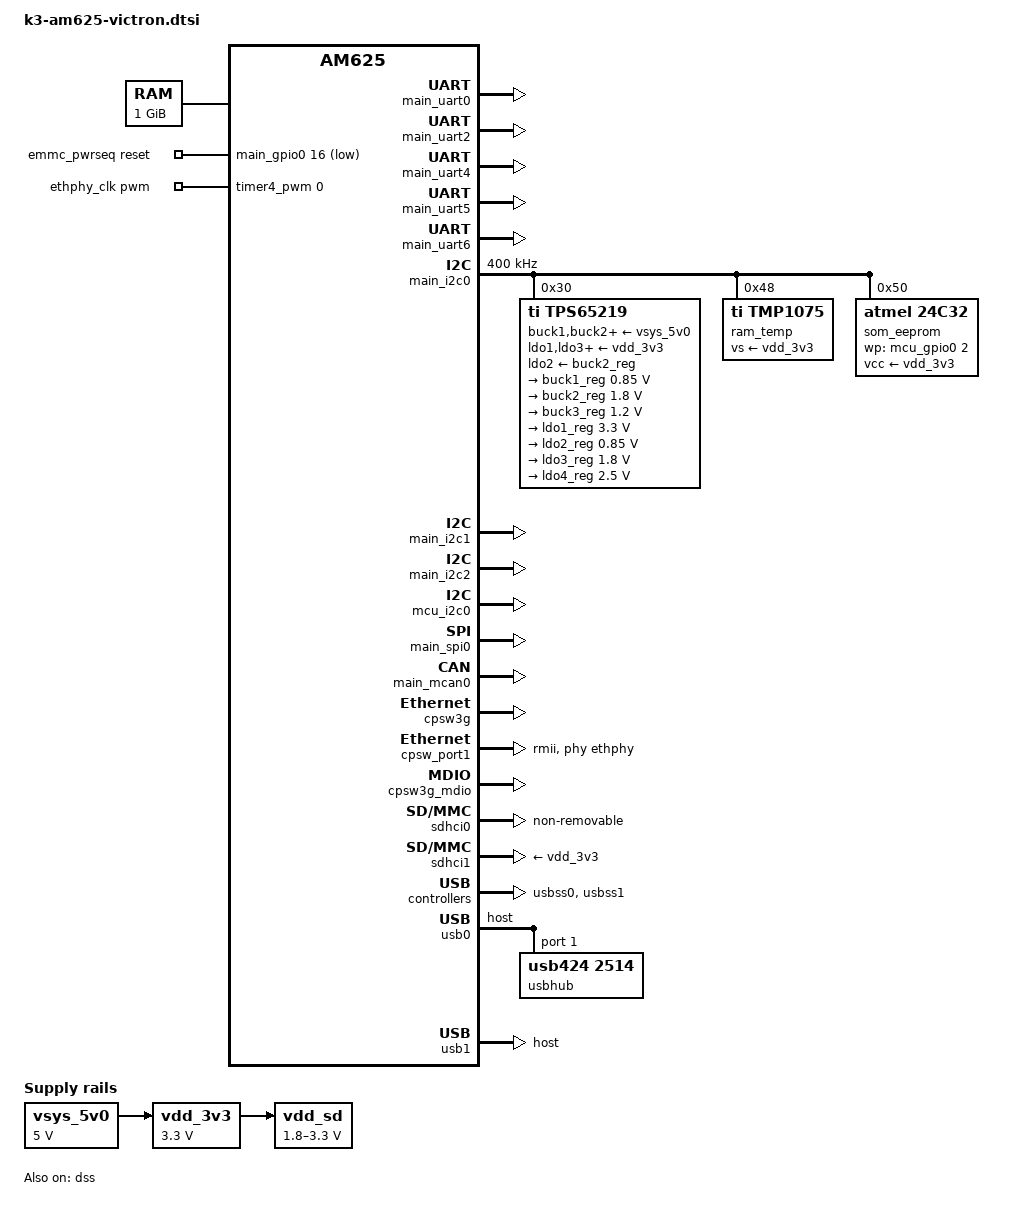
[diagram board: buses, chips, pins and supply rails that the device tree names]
#include <dt-bindings/gpio/gpio.h>

#include "k3-am625.dtsi"

/ {
	compatible = "sancloud,am625-victron", "ti,am625";

	aliases {
		i2c0 = &main_i2c1;
		i2c1 = &main_i2c2;
		i2c2 = &mcu_i2c0;
		i2c3 = &main_i2c0;
		mmc0 = &sdhci0;
		mmc1 = &sdhci1;
		serial0 = &main_uart0;
		serial1 = &main_uart2;
		serial2 = &main_uart4;
		serial3 = &main_uart5;
		serial4 = &main_uart6;
	};

	chosen {
		stdout-path = "serial0:115200n8";
	};

	memory@80000000 {
		device_type = "memory";
		reg = <0x00000000 0x80000000 0x00000000 0x40000000>; /* 1G */
	};

	reserved-memory {
		#address-cells = <2>;
		#size-cells = <2>;
		ranges;

		rtos_ipc_memory_region: ipc-memories@9c800000 {
			compatible = "shared-dma-pool";
			reg = <0x00 0x9c800000 0x00 0x00300000>;
			no-map;
		};

		mcu_m4fss_dma_memory_region: m4f-dma-memory@9cb00000 {
			compatible = "shared-dma-pool";
			reg = <0x00 0x9cb00000 0x00 0x100000>;
			no-map;
		};

		mcu_m4fss_memory_region: m4f-memory@9cc00000 {
			compatible = "shared-dma-pool";
			reg = <0x00 0x9cc00000 0x00 0xe00000>;
			no-map;
		};

		wkup_r5fss0_core0_dma_memory_region: r5f-dma-memory@9da00000 {
			compatible = "shared-dma-pool";
			reg = <0x00 0x9da00000 0x00 0x00100000>;
			no-map;
		};

		wkup_r5fss0_core0_memory_region: r5f-memory@9db00000 {
			compatible = "shared-dma-pool";
			reg = <0x00 0x9db00000 0x00 0x00c00000>;
			no-map;
		};

		lpm_ctx_ddr: lpm-memory@9e700000 {
			reg = <0x00 0x9e700000 0x00 0x80000>;
			alignment = <0x1000>;
		};

		secure_tfa_ddr: tfa@9e780000 {
			reg = <0x00 0x9e780000 0x00 0x80000>;
			alignment = <0x1000>;
			no-map;
		};

		secure_ddr: optee@9e800000 {
			reg = <0x00 0x9e800000 0x00 0x01800000>;  /* OP-TEE */
			alignment = <0x1000>;
			no-map;
		};
	};

	emmc_pwrseq: emmc-pwrseq {
		compatible = "mmc-pwrseq-emmc";
		pinctrl-names = "default";
		pinctrl-0 = <&emmc_pwrseq_pins>;
		reset-gpios = <&main_gpio0 16 GPIO_ACTIVE_LOW>;
	};

	vsys_5v0: regulator-5v0 {
		compatible = "regulator-fixed";
		regulator-name = "vsys_5v0";
		regulator-min-microvolt = <5000000>;
		regulator-max-microvolt = <5000000>;
		regulator-always-on;
		regulator-boot-on;
	};

	vdd_3v3: regulator-3v3 {
		compatible = "regulator-fixed";
		regulator-name = "vdd_3v3";
		regulator-min-microvolt = <3300000>;
		regulator-max-microvolt = <3300000>;
		vin-supply = <&vsys_5v0>;
		regulator-always-on;
		regulator-boot-on;
	};

	vdd_sd: regulator-sd {
		compatible = "regulator-gpio";
		pinctrl-names = "default";
		pinctrl-0 = <&vdd_sd_pins>;
		regulator-name = "vdd_sd";
		regulator-min-microvolt = <1800000>;
		regulator-max-microvolt = <3300000>;
		regulator-boot-on;
		vin-supply = <&vdd_3v3>;
		gpios = <&main_gpio1 49 GPIO_ACTIVE_HIGH>;
		states = <1800000 0x0>,
			 <3300000 0x1>;
	};

	timer4_pwm: pwm {
		compatible = "ti,omap-dmtimer-pwm";
		ti,timers = <&main_timer4>;
		#pwm-cells = <3>;
	};

	ethphy_clk: ethphy-clk {
		compatible = "pwm-clock";
		#clock-cells = <0>;
		pwms = <&timer4_pwm 0 20 0>;			  /* 50 MHz */
	};
};

&a53_opp_table {
	/* Requires VDD_CORE to be at 0.85V */
	opp-1400000000 {
		opp-hz = /bits/ 64 <1400000000>;
		opp-supported-hw = <0x01 0x0004>;
	};
};

&mailbox0_cluster0 {
	mbox_m4_0: mbox-m4-0 {
		ti,mbox-rx = <0 0 0>;
		ti,mbox-tx = <1 0 0>;
	};
};

&main_pmx0 {
	main_timer4_pins: main-timer4-pins {
		pinctrl-single,pins = <
			AM62X_IOPAD(0x01f0, PIN_OUTPUT, 4)	  /* A18 */
		>;
	};

	main_uart0_pins: main-uart0-pins {
		pinctrl-single,pins = <
			AM62X_IOPAD(0x01c8, PIN_INPUT, 0)	  /* D14 */
			AM62X_IOPAD(0x01cc, PIN_OUTPUT, 0)	  /* E14 */
		>;
	};

	main_uart2_pins: main-uart2-pins {
		pinctrl-single,pins = <
			AM62X_IOPAD(0x01d0, PIN_INPUT, 3)	  /* A15 */
			AM62X_IOPAD(0x01d4, PIN_OUTPUT, 3)	  /* B15 */
		>;
	};

	main_uart4_pins: main-uart4-pins {
		pinctrl-single,pins = <
			AM62X_IOPAD(0x0124, PIN_INPUT, 3)	  /* A23 */
			AM62X_IOPAD(0x0128, PIN_OUTPUT, 3)	  /* B23 */
		>;
	};

	main_uart5_pins: main-uart5-pins {
		pinctrl-single,pins = <
			AM62X_IOPAD(0x0108, PIN_INPUT, 3)	  /* D24 */
			AM62X_IOPAD(0x010c, PIN_OUTPUT, 3)	  /* E23 */
		>;
	};

	main_uart6_pins: main-uart6-pins {
		pinctrl-single,pins = <
			AM62X_IOPAD(0x0194, PIN_INPUT, 3)	  /* B19 */
			AM62X_IOPAD(0x0198, PIN_OUTPUT, 3)	  /* A19 */
		>;
	};

	main_i2c0_pins: main-i2c0-pins {
		pinctrl-single,pins = <
			AM62X_IOPAD(0x01e0, PIN_INPUT_PULLUP, 0)  /* B16 */
			AM62X_IOPAD(0x01e4, PIN_INPUT_PULLUP, 0)  /* A16 */
		>;
	};

	main_i2c1_pins: main-i2c1-pins {
		pinctrl-single,pins = <
			AM62X_IOPAD(0x01e8, PIN_INPUT_PULLUP, 0)  /* B17 */
			AM62X_IOPAD(0x01ec, PIN_INPUT_PULLUP, 0)  /* A17 */
		>;
	};

	main_i2c2_pins: main-i2c2-pins {
		pinctrl-single,pins = <
			AM62X_IOPAD(0x00b0, PIN_INPUT_PULLUP, 1)  /* K22 */
			AM62X_IOPAD(0x00b4, PIN_INPUT_PULLUP, 1)  /* K24 */
		>;
	};

	main_spi0_pins: main-spi0-pins {
		pinctrl-single,pins = <
			AM62X_IOPAD(0x01bc, PIN_OUTPUT, 0)	  /* A14 */
			AM62X_IOPAD(0x01c0, PIN_INPUT, 0)	  /* B13 */
			AM62X_IOPAD(0x01c4, PIN_OUTPUT, 0)	  /* B14 */
			AM62X_IOPAD(0x01b4, PIN_OUTPUT, 0)	  /* A13 */
		>;
	};

	main_mcan0_pins: main-mcan0-pins {
		pinctrl-single,pins = <
			AM62X_IOPAD(0x01dc, PIN_INPUT, 0)	  /* E15 */
			AM62X_IOPAD(0x01d8, PIN_OUTPUT, 0)	  /* C15 */
		>;
	};

	cpsw_pins: cpsw-pins {
		pinctrl-single,pins = <
			AM62X_IOPAD(0x0148, PIN_INPUT, 1)	  /* AD17 */
			AM62X_IOPAD(0x0144, PIN_INPUT, 1)	  /* AE17 */
			AM62X_IOPAD(0x0130, PIN_INPUT, 1)	  /* AE19 */
			AM62X_IOPAD(0x012c, PIN_INPUT, 1)	  /* AD19 */
			AM62X_IOPAD(0x014c, PIN_INPUT, 1)	  /* AB17 */
			AM62X_IOPAD(0x0150, PIN_INPUT, 1)	  /* AC17 */
			AM62X_IOPAD(0x0134, PIN_OUTPUT, 1)	  /* AE20 */
			AM62X_IOPAD(0x0138, PIN_OUTPUT, 1)	  /* AD20 */
		>;
	};

	mdio_pins: mdio-pins {
		pinctrl-single,pins = <
			AM62X_IOPAD(0x0160, PIN_OUTPUT, 0)	  /* AD24 */
			AM62X_IOPAD(0x015c, PIN_INPUT, 0)	  /* AB22 */
		>;
	};

	sdhci0_pins: sdhci0-pins {
		pinctrl-single,pins = <
			AM62X_IOPAD(0x0218, PIN_INPUT, 0)	  /* AB1 */
			AM62X_IOPAD(0x0220, PIN_INPUT, 0)	  /* Y3  */
			AM62X_IOPAD(0x0214, PIN_INPUT, 0)	  /* AA2 */
			AM62X_IOPAD(0x0210, PIN_INPUT, 0)	  /* AA1 */
			AM62X_IOPAD(0x020c, PIN_INPUT, 0)	  /* AA3 */
			AM62X_IOPAD(0x0208, PIN_INPUT, 0)	  /* Y4  */
			AM62X_IOPAD(0x0204, PIN_INPUT, 0)	  /* AB2 */
			AM62X_IOPAD(0x0200, PIN_INPUT, 0)	  /* AC1 */
			AM62X_IOPAD(0x01fc, PIN_INPUT, 0)	  /* AD2 */
			AM62X_IOPAD(0x01f8, PIN_INPUT, 0)	  /* AC2 */
		>;
	};

	sdhci1_pins: sdhci1-pins {
		pinctrl-single,pins = <
			AM62X_IOPAD(0x0234, PIN_INPUT, 0)	  /* B22 */
			AM62X_IOPAD(0x023c, PIN_INPUT, 0)	  /* A21 */
			AM62X_IOPAD(0x0240, PIN_INPUT, 0)	  /* D17 */
			AM62X_IOPAD(0x0230, PIN_INPUT, 0)	  /* A22 */
			AM62X_IOPAD(0x022c, PIN_INPUT, 0)	  /* B21 */
			AM62X_IOPAD(0x0228, PIN_INPUT, 0)	  /* C21 */
			AM62X_IOPAD(0x0224, PIN_INPUT, 0)	  /* D22 */
		>;
	};

	emmc_pwrseq_pins: emmc-pwrseq-pins {
		pinctrl-single,pins = <
			AM62X_IOPAD(0x0040, PIN_OUTPUT, 7)	  /* N23 */
		>;
	};

	pmic_pins: pmic-pins {
		pinctrl-single,pins = <
			AM62X_IOPAD(0x01f4, PIN_INPUT, 0)	  /* D16 */
		>;
	};

	vdd_sd_pins: vdd-sd-pins {
		pinctrl-single,pins = <
			AM62X_IOPAD(0x0244, PIN_OUTPUT, 7)	  /* C17 */
		>;
	};

	dss_pins: dss-pins {
		pinctrl-single,pins = <
			AM62X_IOPAD(0x00fc, PIN_OUTPUT, 0)	  /* Y20  */
			AM62X_IOPAD(0x00f8, PIN_OUTPUT, 0)	  /* AB24 */
			AM62X_IOPAD(0x0104, PIN_OUTPUT, 0)	  /* AC24 */
			AM62X_IOPAD(0x0100, PIN_OUTPUT, 0)	  /* AC25 */
			AM62X_IOPAD(0x00b8, PIN_OUTPUT, 0)	  /* U22  */
			AM62X_IOPAD(0x00bc, PIN_OUTPUT, 0)	  /* V24  */
			AM62X_IOPAD(0x00c0, PIN_OUTPUT, 0)	  /* W25  */
			AM62X_IOPAD(0x00c4, PIN_OUTPUT, 0)	  /* W24  */
			AM62X_IOPAD(0x00c8, PIN_OUTPUT, 0)	  /* Y25  */
			AM62X_IOPAD(0x00cc, PIN_OUTPUT, 0)	  /* Y24  */
			AM62X_IOPAD(0x00d0, PIN_OUTPUT, 0)	  /* Y23  */
			AM62X_IOPAD(0x00d4, PIN_OUTPUT, 0)	  /* AA25 */
			AM62X_IOPAD(0x00d8, PIN_OUTPUT, 0)	  /* V21  */
			AM62X_IOPAD(0x00dc, PIN_OUTPUT, 0)	  /* W21  */
			AM62X_IOPAD(0x00e0, PIN_OUTPUT, 0)	  /* V20  */
			AM62X_IOPAD(0x00e4, PIN_OUTPUT, 0)	  /* AA23 */
			AM62X_IOPAD(0x00e8, PIN_OUTPUT, 0)	  /* AB25 */
			AM62X_IOPAD(0x00ec, PIN_OUTPUT, 0)	  /* AA24 */
			AM62X_IOPAD(0x00f0, PIN_OUTPUT, 0)	  /* Y22  */
			AM62X_IOPAD(0x00f4, PIN_OUTPUT, 0)	  /* AA21 */
			AM62X_IOPAD(0x005c, PIN_OUTPUT, 1)	  /* R24  */
			AM62X_IOPAD(0x0060, PIN_OUTPUT, 1)	  /* R25  */
			AM62X_IOPAD(0x0064, PIN_OUTPUT, 1)	  /* T25  */
			AM62X_IOPAD(0x0068, PIN_OUTPUT, 1)	  /* R21  */
			AM62X_IOPAD(0x006c, PIN_OUTPUT, 1)	  /* T22  */
			AM62X_IOPAD(0x0070, PIN_OUTPUT, 1)	  /* T24  */
			AM62X_IOPAD(0x0074, PIN_OUTPUT, 1)	  /* U25  */
			AM62X_IOPAD(0x0078, PIN_OUTPUT, 1)	  /* U24  */
		>;
	};

	usb0_pins: usb0-pins {
		pinctrl-single,pins = <
			AM62X_IOPAD(0x008c, PIN_INPUT_PULLUP, 7)  /* L25 */
		>;
	};

	usb1_pins: usb1-pins {
		pinctrl-single,pins = <
			AM62X_IOPAD(0x017c, PIN_INPUT_PULLUP, 7)  /* AD22 */
		>;
	};

	main_gpio0_pins: main-gpio0-pins {
		pinctrl-single,pins = <
			AM62X_IOPAD(0x0114, PIN_OUTPUT, 7)	  /* B24 */
			AM62X_IOPAD(0x0120, PIN_OUTPUT, 0)	  /* C24 */
		>;
	};

	main_gpio1_pins: main-gpio1-pins {
		pinctrl-single,pins = <
			AM62X_IOPAD(0x01a8, PIN_OUTPUT, 7)	  /* D20 */
		>;
	};
};

&mcu_pmx0 {
	mcu_i2c0_pins: mcu-i2c0-pins {
		pinctrl-single,pins = <
			AM62X_IOPAD(0x0044, PIN_INPUT, 0)	  /* A8  */
			AM62X_IOPAD(0x0048, PIN_INPUT, 0)	  /* D10 */
		>;
	};

	som_eeprom_pins: som-eeprom-pins {
		pinctrl-single,pins = <
			AM62X_IOPAD(0x0000, PIN_OUTPUT, 7)	  /* A7 */
		>;
	};
};

&main_timer4 {
	pinctrl-names = "default";
	pinctrl-0 = <&main_timer4_pins>;
	assigned-clocks = <&k3_clks 40 2>;
	assigned-clock-parents = <&k3_clks 40 5>;
};

&main_uart0 {
	pinctrl-names = "default";
	pinctrl-0 = <&main_uart0_pins>;
	status = "okay";
};

&main_uart2 {
	pinctrl-names = "default";
	pinctrl-0 = <&main_uart2_pins>;
	status = "okay";
};

&main_uart4 {
	pinctrl-names = "default";
	pinctrl-0 = <&main_uart4_pins>;
	status = "okay";
};

&main_uart5 {
	pinctrl-names = "default";
	pinctrl-0 = <&main_uart5_pins>;
	status = "okay";
};

&main_uart6 {
	pinctrl-names = "default";
	pinctrl-0 = <&main_uart6_pins>;
	status = "okay";
};

&main_i2c0 {
	pinctrl-names = "default";
	pinctrl-0 = <&main_i2c0_pins>;
	clock-frequency = <400000>;
	status = "okay";

	tps65219: pmic@30 {
		compatible = "ti,tps65219";
		pinctrl-names = "default";
		pinctrl-0 = <&pmic_pins>;
		reg = <0x30>;

		buck1-supply = <&vsys_5v0>;
		buck2-supply = <&vsys_5v0>;
		buck3-supply = <&vsys_5v0>;
		ldo1-supply = <&vdd_3v3>;
		ldo2-supply = <&buck2_reg>;
		ldo3-supply = <&vdd_3v3>;
		ldo4-supply = <&vdd_3v3>;

		interrupt-parent = <&gic500>;
		interrupts = <GIC_SPI 224 IRQ_TYPE_LEVEL_HIGH>;
		interrupt-controller;
		#interrupt-cells = <2>;

		system-power-controller;
		wakeup-source;
		ti,power-button;

		regulators {
			buck1_reg: buck1 {
				regulator-name = "VDD_CORE";
				regulator-min-microvolt = <850000>;
				regulator-max-microvolt = <850000>;
				regulator-boot-on;
				regulator-always-on;
			};

			buck2_reg: buck2 {
				regulator-name = "VDD_1V8";
				regulator-min-microvolt = <1800000>;
				regulator-max-microvolt = <1800000>;
				regulator-boot-on;
				regulator-always-on;
			};

			buck3_reg: buck3 {
				regulator-name = "VDD_1V2";
				regulator-min-microvolt = <1200000>;
				regulator-max-microvolt = <1200000>;
				regulator-boot-on;
				regulator-always-on;
			};

			ldo1_reg: ldo1 {
				regulator-name = "VDD_SD_3V3";
				regulator-min-microvolt = <3300000>;
				regulator-max-microvolt = <3300000>;
				regulator-allow-bypass;
				regulator-boot-on;
				regulator-always-on;
			};

			ldo2_reg: ldo2 {
				regulator-name = "VDDA_0V85";
				regulator-min-microvolt = <850000>;
				regulator-max-microvolt = <850000>;
				regulator-boot-on;
				regulator-always-on;
			};

			ldo3_reg: ldo3 {
				regulator-name = "VDDA_1V8";
				regulator-min-microvolt = <1800000>;
				regulator-max-microvolt = <1800000>;
				regulator-boot-on;
				regulator-always-on;
			};

			ldo4_reg: ldo4 {
				regulator-name = "VDD_2V5";
				regulator-min-microvolt = <2500000>;
				regulator-max-microvolt = <2500000>;
				regulator-boot-on;
				regulator-always-on;
			};
		};
	};

	ram_temp: temperature-sensor@48 {
		compatible = "ti,tmp1075";
		reg = <0x48>;
		label = "ram_temp";
		vs-supply = <&vdd_3v3>;
	};

	som_eeprom: eeprom@50 {
		compatible = "atmel,24c32";
		pinctrl-names = "default";
		pinctrl-0 = <&som_eeprom_pins>;
		reg = <0x50>;
		pagesize = <32>;
		wp-gpios = <&mcu_gpio0 2 GPIO_ACTIVE_HIGH>;
		vcc-supply = <&vdd_3v3>;
	};
};

&main_i2c1 {
	pinctrl-names = "default";
	pinctrl-0 = <&main_i2c1_pins>;
	status = "okay";
};

&main_i2c2 {
	pinctrl-names = "default";
	pinctrl-0 = <&main_i2c2_pins>;
	status = "okay";
};

&mcu_i2c0 {
	pinctrl-names = "default";
	pinctrl-0 = <&mcu_i2c0_pins>;
	status = "okay";
};

&main_spi0 {
	pinctrl-names = "default";
	pinctrl-0 = <&main_spi0_pins>;
	status = "okay";
};

&main_mcan0 {
	pinctrl-names = "default";
	pinctrl-0 = <&main_mcan0_pins>;
	status = "okay";
};

&cpsw3g {
	pinctrl-names = "default";
	pinctrl-0 = <&cpsw_pins>;
	status = "okay";
};

&cpsw_port1 {
	phy-mode = "rmii";
	phy-handle = <&ethphy>;
};

&cpsw_port2 {
	status = "disabled";
};

&cpsw3g_mdio {
	pinctrl-names = "default";
	pinctrl-0 = <&mdio_pins>;
	status = "okay";
};

&sdhci0 {
	pinctrl-names = "default";
	pinctrl-0 = <&sdhci0_pins>;
	status = "okay";

	mmc-pwrseq = <&emmc_pwrseq>;
	non-removable;
};

&sdhci1 {
	pinctrl-names = "default";
	pinctrl-0 = <&sdhci1_pins>;
	status = "okay";

	vmmc-supply = <&vdd_3v3>;
	vqmmc-supply = <&vdd_sd>;
	disable-wp;
	no-1-8-v;
};

&dss {
	pinctrl-names = "default";
	pinctrl-0 = <&dss_pins>;
	status = "okay";
};

&dss_ports {
	port@1 {
		reg = <1>;

		dss_out: endpoint {
			remote-endpoint = <&hdmi_in>;
		};
	};
};

&usbss0 {
	ti,vbus-divider;
	status = "okay";
};

&usb0 {
	pinctrl-names = "default";
	pinctrl-0 = <&usb0_pins>;
	dr_mode = "host";
	#address-cells = <1>;
	#size-cells = <0>;

	usbhub: hub@1 {
		compatible = "usb424,2514";
		reg = <1>;
		#address-cells = <1>;
		#size-cells = <0>;
	};
};

&usbss1 {
	ti,vbus-divider;
	status = "okay";
};

&usb1 {
	pinctrl-names = "default";
	pinctrl-0 = <&usb1_pins>;
	dr_mode = "host";
	#address-cells = <1>;
	#size-cells = <0>;
};
